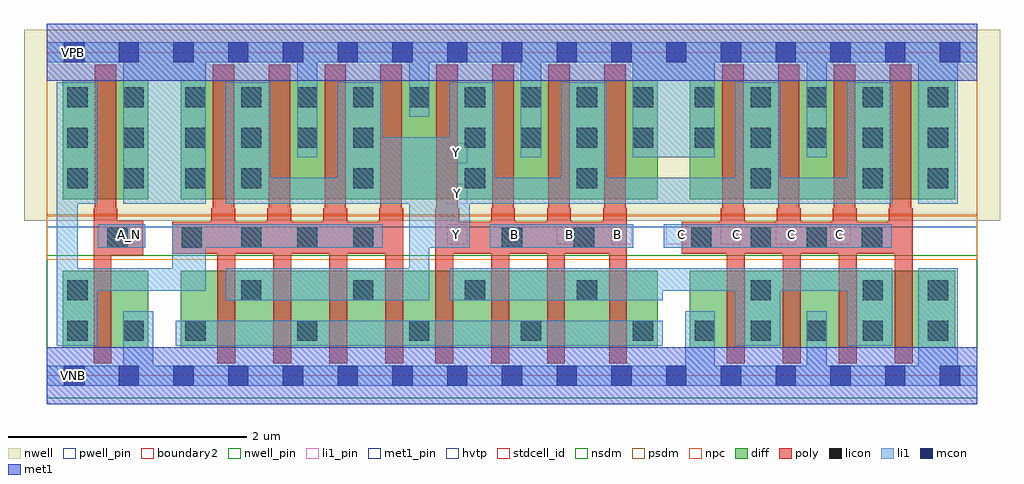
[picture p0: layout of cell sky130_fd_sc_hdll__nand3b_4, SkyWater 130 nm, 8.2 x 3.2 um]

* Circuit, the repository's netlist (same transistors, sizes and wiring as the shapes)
* Copyright 2020 The SkyWater PDK Authors
*
* Licensed under the Apache License, Version 2.0 (the "License");
* you may not use this file except in compliance with the License.
* You may obtain a copy of the License at
*
*     https://www.apache.org/licenses/LICENSE-2.0
*
* Unless required by applicable law or agreed to in writing, software
* distributed under the License is distributed on an "AS IS" BASIS,
* WITHOUT WARRANTIES OR CONDITIONS OF ANY KIND, either express or implied.
* See the License for the specific language governing permissions and
* limitations under the License.
*
* SPDX-License-Identifier: Apache-2.0

.SUBCKT sky130_fd_sc_hdll__nand3b_4 A_N B C VGND VNB VPB VPWR Y
*.PININFO A_N:I B:I C:I VGND:I VNB:I VPB:I VPWR:I Y:O
MMP0 Y A VPWR VPB sky130_fd_pr__pfet_01v8_hvt m=4 w=1.0U l=0.18U mult=1 sa=0.265
+ sb=0.265 sd=0.28 area=0.063 perim=1.14
MMP1 Y B VPWR VPB sky130_fd_pr__pfet_01v8_hvt m=4 w=1.0U l=0.18U mult=1 sa=0.265
+ sb=0.265 sd=0.28 area=0.063 perim=1.14
MMP2 Y C VPWR VPB sky130_fd_pr__pfet_01v8_hvt m=4 w=1.0U l=0.18U mult=1 sa=0.265
+ sb=0.265 sd=0.28 area=0.063 perim=1.14
MMIP0 A A_N VPWR VPB sky130_fd_pr__pfet_01v8_hvt m=1 w=1.0U l=0.18U mult=1 sa=0.265
+ sb=0.265 sd=0.28 area=0.063 perim=1.14
MMN0 Y A sndA VNB sky130_fd_pr__nfet_01v8 m=4 w=0.65U l=0.15U mult=1 sa=0.265 sb=0.265
+ sd=0.28 area=0.063 perim=1.14
MMN1 sndA B sndB VNB sky130_fd_pr__nfet_01v8 m=4 w=0.65U l=0.15U mult=1 sa=0.265
+ sb=0.265 sd=0.28 area=0.063 perim=1.14
MMN2 sndB C VGND VNB sky130_fd_pr__nfet_01v8 m=4 w=0.65U l=0.15U mult=1 sa=0.265
+ sb=0.265 sd=0.28 area=0.063 perim=1.14
MMIN0 A A_N VGND VNB sky130_fd_pr__nfet_01v8 m=1 w=0.65U l=0.15U mult=1 sa=0.265
+ sb=0.265 sd=0.28 area=0.063 perim=1.14
.ENDS sky130_fd_sc_hdll__nand3b_4

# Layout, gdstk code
import gdstk
lib = gdstk.Library(unit=1e-6, precision=1e-09)
def R(c, l, rs):  # rectangles x0, y0, x1, y1
    for r in rs: c.add(gdstk.rectangle(r[:2], r[2:], *l))
def A(c, l, x, y, w, h, nx, ny, dx, dy):  # array of equal rectangles
    R(c, l, [(x+i*dx, y+j*dy, x+i*dx+w, y+j*dy+h) for i in range(nx) for j in range(ny)])
def P(c, l, *ps):  # polygons
    for p in ps: c.add(gdstk.Polygon(p, *l))
nwell_pin = (64, 16)
nwell = (64, 20)
diff = (65, 20)
poly = (66, 20)
licon = (66, 44)
li1_pin = (67, 16)
li1 = (67, 20)
mcon = (67, 44)
met1_pin = (68, 16)
met1 = (68, 20)
hvtp = (78, 44)
stdcell_id = (81, 4)
nsdm = (93, 44)
psdm = (94, 20)
npc = (95, 20)
pwell_pin = (122, 16)
boundary2 = (236, 0)

sky130_fd_sc_hdll__nand3 = lib.new_cell('sky130_fd_sc_hdll__nand3b_4')
R(sky130_fd_sc_hdll__nand3, nwell_pin, [(0.15,2.635,0.32,2.805)])
R(sky130_fd_sc_hdll__nand3, nwell, [(-0.19,1.305,8.01,2.91)])
R(sky130_fd_sc_hdll__nand3, diff, [(0.135,0.235,0.855,0.885), (1.125,0.235,5.135,0.885), (5.405,0.235,7.635,0.885), (0.135,1.485,0.855,2.485), (1.125,1.485,5.135,2.485), (5.405,1.485,7.635,2.485)])
P(sky130_fd_sc_hdll__nand3, poly, [(0.81,1.305),(0.595,1.305),(0.595,1.41),(0.585,1.41),(0.585,2.615),(0.405,2.615),(0.405,1.41),(0.395,1.41),(0.395,0.105),(0.545,0.105),(0.545,1.015),(0.81,1.015)],
  [(2.995,1.41),(2.985,1.41),(2.985,2.615),(2.805,2.615),(2.805,1.41),(2.795,1.41),(2.795,1.295),(2.525,1.295),(2.525,1.41),(2.515,1.41),(2.515,2.615),(2.335,2.615),(2.335,1.41),(2.325,1.41),(2.325,1.295),(2.055,1.295),(2.055,1.41),(2.045,1.41),(2.045,2.615),(1.865,2.615),(1.865,1.41),(1.855,1.41),(1.855,1.295),(1.585,1.295),(1.585,1.41),(1.575,1.41),(1.575,2.615),(1.395,2.615),(1.395,1.41),(1.385,1.41),(1.385,1.295),(1.055,1.295),(1.055,1.025),(1.435,1.025),(1.435,0.105),(1.585,0.105),(1.585,1.025),(1.905,1.025),(1.905,0.105),(2.055,0.105),(2.055,1.025),(2.375,1.025),(2.375,0.105),(2.525,0.105),(2.525,1.025),(2.845,1.025),(2.845,0.105),(2.995,0.105)],
  [(4.875,1.41),(4.865,1.41),(4.865,2.615),(4.685,2.615),(4.685,1.41),(4.675,1.41),(4.675,1.295),(4.405,1.295),(4.405,1.41),(4.395,1.41),(4.395,2.615),(4.215,2.615),(4.215,1.41),(4.205,1.41),(4.205,1.295),(3.935,1.295),(3.935,1.41),(3.925,1.41),(3.925,2.615),(3.745,2.615),(3.745,1.41),(3.735,1.41),(3.735,1.295),(3.465,1.295),(3.465,1.41),(3.455,1.41),(3.455,2.615),(3.275,2.615),(3.275,1.41),(3.265,1.41),(3.265,0.105),(3.415,0.105),(3.415,1.025),(3.735,1.025),(3.735,0.105),(3.885,0.105),(3.885,1.025),(4.205,1.025),(4.205,0.105),(4.355,0.105),(4.355,1.025),(4.725,1.025),(4.725,0.105),(4.875,0.105)],
  [(7.275,1.41),(7.265,1.41),(7.265,2.615),(7.085,2.615),(7.085,1.41),(7.075,1.41),(7.075,1.295),(6.805,1.295),(6.805,1.41),(6.795,1.41),(6.795,2.615),(6.615,2.615),(6.615,1.41),(6.605,1.41),(6.605,1.295),(6.335,1.295),(6.335,1.41),(6.325,1.41),(6.325,2.615),(6.145,2.615),(6.145,1.41),(6.135,1.41),(6.135,1.295),(5.865,1.295),(5.865,1.41),(5.855,1.41),(5.855,2.615),(5.675,2.615),(5.675,1.41),(5.665,1.41),(5.665,1.295),(5.335,1.295),(5.335,1.025),(5.715,1.025),(5.715,0.105),(5.865,0.105),(5.865,1.025),(6.185,1.025),(6.185,0.105),(6.335,0.105),(6.335,1.025),(6.655,1.025),(6.655,0.105),(6.805,0.105),(6.805,1.025),(7.125,1.025),(7.125,0.105),(7.275,0.105)])
A(sky130_fd_sc_hdll__nand3, licon, 1.165, 0.295, 0.17, 0.17, 5, 1, 0.94, 0)
A(sky130_fd_sc_hdll__nand3, licon, 5.445, 0.295, 0.17, 0.17, 4, 2, 0.47, 1.62)
A(sky130_fd_sc_hdll__nand3, licon, 1.635, 0.635, 0.17, 0.17, 4, 2, 0.94, 0.94)
A(sky130_fd_sc_hdll__nand3, licon, 1.635, 1.075, 0.17, 0.17, 3, 1, 0.47, 0)
A(sky130_fd_sc_hdll__nand3, licon, 0.175, 1.575, 0.17, 0.17, 1, 3, 0, 0.34)
A(sky130_fd_sc_hdll__nand3, licon, 0.645, 1.575, 0.17, 0.17, 1, 3, 0, 0.34)
A(sky130_fd_sc_hdll__nand3, licon, 7.405, 1.575, 0.17, 0.17, 1, 3, 0, 0.34)
A(sky130_fd_sc_hdll__nand3, licon, 1.165, 1.915, 0.17, 0.17, 4, 1, 0.47, 0)
A(sky130_fd_sc_hdll__nand3, licon, 3.515, 1.915, 0.17, 0.17, 4, 1, 0.47, 0)
A(sky130_fd_sc_hdll__nand3, licon, 1.165, 2.255, 0.17, 0.17, 9, 1, 0.47, 0)
A(sky130_fd_sc_hdll__nand3, licon, 5.445, 2.255, 0.17, 0.17, 4, 1, 0.47, 0)
R(sky130_fd_sc_hdll__nand3, licon, [(0.175,0.295,0.345,0.465), (0.645,0.295,0.815,0.465), (7.405,0.295,7.575,0.465), (0.175,0.635,0.345,0.805), (5.915,0.635,6.085,0.805), (6.855,0.635,7.025,0.805), (7.405,0.635,7.575,0.805), (0.51,1.075,0.68,1.245), (1.135,1.075,1.305,1.245), (3.825,1.075,3.995,1.245), (4.43,1.075,4.6,1.245), (5.415,1.075,5.585,1.245), (5.915,1.075,6.085,1.245), (6.385,1.075,6.555,1.245), (6.85,1.075,7.02,1.245), (1.165,1.575,1.335,1.745), (5.915,1.575,6.085,1.745), (6.855,1.575,7.025,1.745)])
A(sky130_fd_sc_hdll__nand3, li1_pin, 3.365, 1.105, 0.17, 0.17, 8, 1, 0.46, 0)
R(sky130_fd_sc_hdll__nand3, li1_pin, [(0.605,1.105,0.775,1.275), (3.365,1.445,3.535,1.615), (3.365,1.785,3.535,1.955)])
R(sky130_fd_sc_hdll__nand3, li1, [(1.085,0.255,5.175,0.465), (0.43,1.075,0.83,1.275), (3.725,1.075,4.93,1.275), (5.185,1.075,7.1,1.275)])
P(sky130_fd_sc_hdll__nand3, li1, [(7.82,0.085),(7.655,0.085),(7.655,0.905),(7.325,0.905),(7.325,0.085),(6.555,0.085),(6.555,0.545),(6.385,0.545),(6.385,0.085),(5.615,0.085),(5.615,0.545),(5.365,0.545),(5.365,0.085),(0.895,0.085),(0.895,0.545),(0.645,0.545),(0.645,0.085),(0,0.085),(0,-0.085),(7.82,-0.085)],
  [(7.82,2.805),(0,2.805),(0,2.635),(0.645,2.635),(0.645,1.445),(1.335,1.445),(1.335,2.635),(2.105,2.635),(2.105,1.835),(2.275,1.835),(2.275,2.635),(3.045,2.635),(3.045,2.175),(3.215,2.175),(3.215,2.635),(3.985,2.635),(3.985,1.835),(4.155,1.835),(4.155,2.635),(4.925,2.635),(4.925,1.835),(5.615,1.835),(5.615,2.635),(6.385,2.635),(6.385,1.835),(6.555,1.835),(6.555,2.635),(7.325,2.635),(7.325,1.445),(7.655,1.445),(7.655,2.635),(7.82,2.635)],
  [(7.105,0.905),(3.385,0.905),(3.385,0.635),(5.175,0.635),(5.175,0.715),(5.785,0.715),(5.785,0.255),(6.165,0.255),(6.165,0.715),(6.725,0.715),(6.725,0.255),(7.105,0.255)],
  [(2.825,1.275),(1.055,1.275),(1.055,0.905),(0.26,0.905),(0.26,1.445),(0.425,1.445),(0.425,2.465),(0.085,2.465),(0.085,0.255),(0.425,0.255),(0.425,0.715),(1.335,0.715),(1.335,1.075),(2.825,1.075)],
  [(7.105,2.465),(6.725,2.465),(6.725,1.665),(6.165,1.665),(6.165,2.465),(5.785,2.465),(5.785,1.665),(4.705,1.665),(4.705,2.465),(4.325,2.465),(4.325,1.665),(3.765,1.665),(3.765,2.465),(3.385,2.465),(3.385,2.005),(2.825,2.005),(2.825,2.465),(2.445,2.465),(2.445,1.665),(1.885,1.665),(1.885,2.465),(1.505,2.465),(1.505,1.445),(3.045,1.445),(3.045,0.905),(1.505,0.905),(1.505,0.635),(3.215,0.635),(3.215,1.075),(3.555,1.075),(3.555,1.445),(7.105,1.445)])
A(sky130_fd_sc_hdll__nand3, mcon, 0.145, -0.085, 0.17, 0.17, 17, 2, 0.46, 2.72)
R(sky130_fd_sc_hdll__nand3, met1_pin, [(0.15,-0.085,0.32,0.085), (0.15,2.635,0.32,2.805)])
R(sky130_fd_sc_hdll__nand3, met1, [(0,-0.24,7.82,0.24), (0,2.48,7.82,2.96)])
R(sky130_fd_sc_hdll__nand3, hvtp, [(0,1.25,7.82,2.72)])
R(sky130_fd_sc_hdll__nand3, stdcell_id, [(0,0,7.82,2.72)])
R(sky130_fd_sc_hdll__nand3, nsdm, [(0,-0.19,7.82,1.015)])
R(sky130_fd_sc_hdll__nand3, psdm, [(0,1.355,7.82,2.91)])
R(sky130_fd_sc_hdll__nand3, npc, [(0,0.975,7.82,1.345)])
R(sky130_fd_sc_hdll__nand3, pwell_pin, [(0.15,-0.085,0.32,0.085)])
R(sky130_fd_sc_hdll__nand3, boundary2, [(0,0,7.82,2.72)])
sky130_fd_sc_hdll__nand3.add(gdstk.Label('A_N', (0.695,1.19), layer=67, texttype=5))
sky130_fd_sc_hdll__nand3.add(gdstk.Label('Y', (3.445,1.19), layer=67, texttype=5))
sky130_fd_sc_hdll__nand3.add(gdstk.Label('B', (4.8,1.19), layer=67, texttype=5))
sky130_fd_sc_hdll__nand3.add(gdstk.Label('B', (4.395,1.19), layer=67, texttype=5))
sky130_fd_sc_hdll__nand3.add(gdstk.Label('B', (3.935,1.19), layer=67, texttype=5))
sky130_fd_sc_hdll__nand3.add(gdstk.Label('Y', (3.445,1.88), layer=67, texttype=5))
sky130_fd_sc_hdll__nand3.add(gdstk.Label('C', (6.66,1.19), layer=67, texttype=5))
sky130_fd_sc_hdll__nand3.add(gdstk.Label('C', (5.335,1.19), layer=67, texttype=5))
sky130_fd_sc_hdll__nand3.add(gdstk.Label('C', (5.795,1.19), layer=67, texttype=5))
sky130_fd_sc_hdll__nand3.add(gdstk.Label('C', (6.255,1.19), layer=67, texttype=5))
sky130_fd_sc_hdll__nand3.add(gdstk.Label('Y', (3.45,1.53), layer=67, texttype=5))
sky130_fd_sc_hdll__nand3.add(gdstk.Label('VNB', (0.23,0), layer=64, texttype=59))
sky130_fd_sc_hdll__nand3.add(gdstk.Label('VPB', (0.23,2.72), layer=64, texttype=5))
sky130_fd_sc_hdll__nand3.add(gdstk.Label('VGND', (0.23,0), layer=68, texttype=5))
sky130_fd_sc_hdll__nand3.add(gdstk.Label('VPWR', (0.23,2.72), layer=68, texttype=5))
sky130_fd_sc_hdll__nand3.add(gdstk.Label('nand3b_4', (0,0), layer=83, texttype=44))

lib.write_gds('sky130_fd_sc_hdll__nand3b_4.gds')
